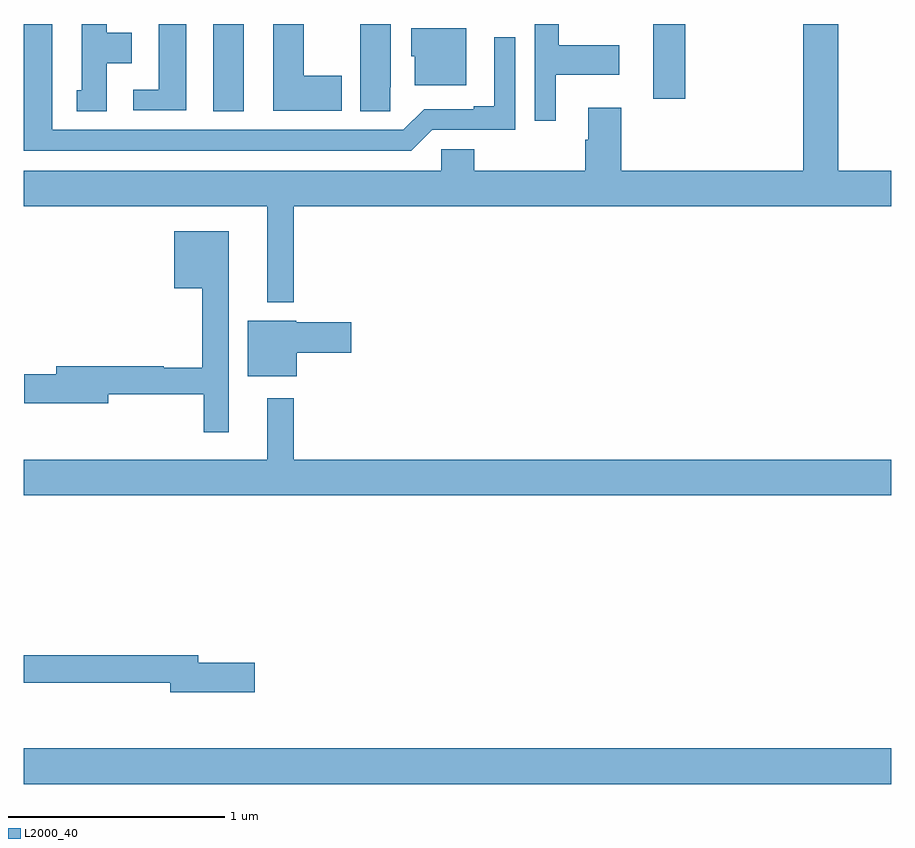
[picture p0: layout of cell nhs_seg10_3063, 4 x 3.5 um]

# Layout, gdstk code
import gdstk
lib = gdstk.Library(unit=1e-6, precision=1e-09)
def R(c, l, rs):  # rectangles x0, y0, x1, y1
    for r in rs: c.add(gdstk.rectangle(r[:2], r[2:], *l))
def P(c, l, *ps):  # polygons
    for p in ps: c.add(gdstk.Polygon(p, *l))
L2000_40 = (2000, 40)

nhs_seg10_3063 = lib.new_cell('nhs_seg10_3063')
R(nhs_seg10_3063, L2000_40, [(277,1286.996,281,1287.16), (277.874,1290.097,278.014,1290.5), (279.902,1290.156,280.049,1290.5)])
P(nhs_seg10_3063, L2000_40, [(277.384,1290.32),(277.498,1290.32),(277.498,1290.46),(277.384,1290.46),(277.384,1290.5),(277.268,1290.5),(277.268,1290.195),(277.244,1290.195),(277.244,1290.097),(277.384,1290.097)],
  [(278.883,1290.012),(279.267,1290.012),(279.267,1290.439),(279.17,1290.439),(279.17,1290.121),(279.074,1290.121),(279.074,1290.108),(278.847,1290.108),(278.751,1290.012),(277.132,1290.012),(277.132,1290.5),(277,1290.5),(277,1289.916),(278.787,1289.916)],
  [(278.691,1290.208),(278.692,1290.208),(278.692,1290.5),(278.552,1290.5),(278.552,1290.097),(278.691,1290.097)],
  [(278.467,1290.261),(278.29,1290.261),(278.29,1290.5),(278.15,1290.5),(278.15,1290.101),(278.467,1290.101)],
  [(277.75,1290.5),(277.622,1290.5),(277.622,1290.198),(277.506,1290.198),(277.506,1290.102),(277.75,1290.102)],
  [(279.454,1290.266),(279.745,1290.266),(279.745,1290.401),(279.466,1290.401),(279.466,1290.5),(279.357,1290.5),(279.357,1290.054),(279.454,1290.054)],
  [(279.04,1290.481),(278.786,1290.481),(278.786,1290.351),(278.804,1290.351),(278.804,1290.218),(279.04,1290.218)],
  [(280.595,1290.5),(280.595,1289.824),(279.755,1289.824),(279.755,1290.115),(279.602,1290.115),(279.602,1289.966),(279.59,1289.966),(279.59,1289.824),(279.077,1289.824),(279.077,1289.922),(278.925,1289.922),(278.925,1289.824),(277,1289.824),(277,1289.66),(278.123,1289.66),(278.123,1289.216),(278.245,1289.216),(278.245,1289.66),(281,1289.66),(281,1289.824),(280.755,1289.824),(280.755,1290.5)],
  [(277.945,1289.545),(277.694,1289.545),(277.694,1289.282),(277.824,1289.282),(277.824,1288.915),(277.645,1288.915),(277.645,1288.922),(277.151,1288.922),(277.151,1288.886),(277.002,1288.886),(277.002,1288.751),(277.39,1288.751),(277.39,1288.794),(277.831,1288.794),(277.831,1288.617),(277.945,1288.617)],
  [(278.26,1288.984),(278.509,1288.984),(278.509,1289.126),(278.256,1289.126),(278.256,1289.131),(278.033,1289.131),(278.033,1288.877),(278.26,1288.877)],
  [(281,1288.492),(278.245,1288.492),(278.245,1288.774),(278.123,1288.774),(278.123,1288.492),(277,1288.492),(277,1288.328),(281,1288.328)],
  [(278.065,1287.554),(277.804,1287.554),(277.804,1287.59),(277,1287.59),(277,1287.462),(277.676,1287.462),(277.676,1287.419),(278.065,1287.419)])

lib.write_gds('nhs_seg10_3063.gds')
